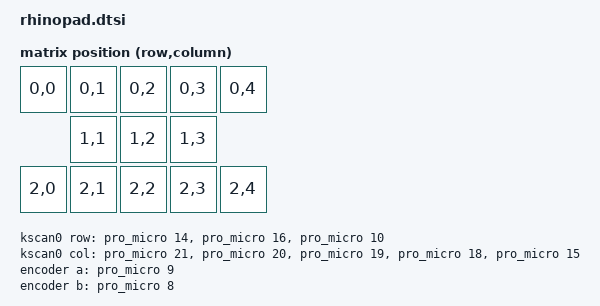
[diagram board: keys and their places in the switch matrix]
#include <dt-bindings/zmk/matrix_transform.h>

/ {
	chosen {
		zmk,kscan = &kscan0;
		zmk,matrix_transform = &default_transform;
	};

    kscan0: kscan {
        compatible = "zmk,kscan-gpio-matrix";
        label = "KSCAN";
        diode-direction = "col2row"; 

        row-gpios = <&pro_micro 14 (GPIO_ACTIVE_HIGH| GPIO_PULL_DOWN)>,
                    <&pro_micro 16 (GPIO_ACTIVE_HIGH| GPIO_PULL_DOWN)>,
                    <&pro_micro 10 (GPIO_ACTIVE_HIGH| GPIO_PULL_DOWN)>;

        col-gpios = <&pro_micro 21 (GPIO_ACTIVE_HIGH| GPIO_PULL_DOWN)>,
                    <&pro_micro 20 (GPIO_ACTIVE_HIGH| GPIO_PULL_DOWN)>,
                    <&pro_micro 19 (GPIO_ACTIVE_HIGH| GPIO_PULL_DOWN)>,
                    <&pro_micro 18 (GPIO_ACTIVE_HIGH| GPIO_PULL_DOWN)>,
                    <&pro_micro 15 (GPIO_ACTIVE_HIGH| GPIO_PULL_DOWN)>;
              };


    default_transform: keymap_transform_0 {
		compatible = "zmk,matrix-transform";
		columns = <5>;
		rows = <3>;

        map = <
            RC(0,0) RC(0,1) RC(0,2) RC(0,3) RC(0,4)									
                    RC(1,1) RC(1,2) RC(1,3) 									
            RC(2,0) RC(2,1) RC(2,2) RC(2,3) RC(2,4)						
		>;
	};

    encoder: encoder {
		compatible = "alps,ec11";
		label = "ENCODER";
		a-gpios = <&pro_micro 9 (GPIO_ACTIVE_HIGH | GPIO_PULL_UP)>;
		b-gpios = <&pro_micro 8 (GPIO_ACTIVE_HIGH | GPIO_PULL_UP)>;
		steps = <48>;
	};

    sensors {
		compatible = "zmk,keymap-sensors";
		sensors = <&encoder>;
		triggers-per-rotation = <12>;
	};
};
